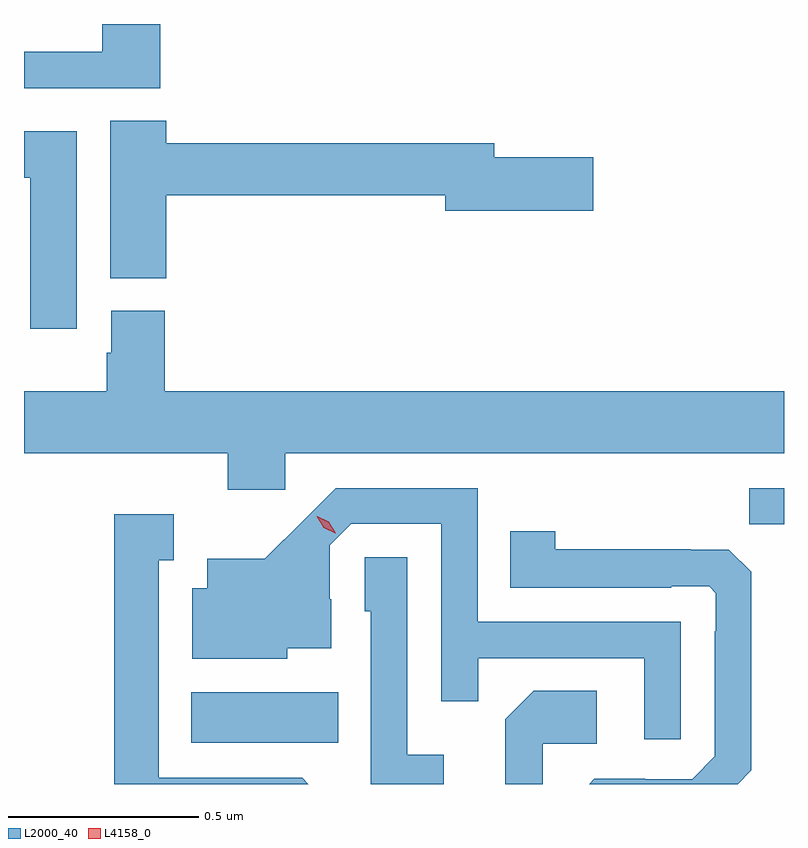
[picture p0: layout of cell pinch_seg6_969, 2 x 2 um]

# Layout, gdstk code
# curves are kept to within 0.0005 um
import gdstk
lib = gdstk.Library(unit=1e-6, precision=1e-09)
def R(c, l, rs):  # rectangles x0, y0, x1, y1
    for r in rs: c.add(gdstk.rectangle(r[:2], r[2:], *l))
def P(c, l, *ps):  # polygons
    for p in ps: c.add(gdstk.Polygon(p, *l))
L2000_40 = (2000, 40)
L4158_0 = (4158, 0)

pinch_seg6_969 = lib.new_cell('pinch_seg6_969')
R(pinch_seg6_969, L2000_40, [(337.391,923.93,337.778,924.064), (338.86,924.505,338.951,924.6)])
P(pinch_seg6_969, L2000_40, [(337.31,925.822),(337.157,925.822),(337.157,925.749),(336.951,925.749),(336.951,925.653),(337.31,925.653)],
  [(337.325,925.372),(338.06,925.372),(338.06,925.33),(338.449,925.33),(338.449,925.472),(338.188,925.472),(338.188,925.508),(337.325,925.508),(337.325,925.568),(337.178,925.568),(337.178,925.153),(337.325,925.153)],
  [(337.09,925.54),(336.951,925.54),(336.951,925.418),(336.968,925.418),(336.968,925.02),(337.09,925.02)],
  [(337.638,924.692),(338.951,924.692),(338.951,924.856),(337.322,924.856),(337.322,925.068),(337.181,925.068),(337.181,924.957),(337.169,924.957),(337.169,924.856),(336.951,924.856),(336.951,924.692),(337.487,924.692),(337.487,924.597),(337.638,924.597)],
  [(338.679,924.249),(338.145,924.249),(338.145,924.6),(337.772,924.6),(337.585,924.415),(337.433,924.415),(337.433,924.337),(337.394,924.337),(337.394,924.152),(337.644,924.152),(337.644,924.179),(337.759,924.179),(337.759,924.308),(337.755,924.308),(337.755,924.45),(337.812,924.507),(338.049,924.507),(338.049,924.04),(338.147,924.04),(338.147,924.153),(338.583,924.153),(338.583,923.94),(338.679,923.94)],
  [(337.683,923.838),(337.306,923.838),(337.306,924.411),(337.345,924.411),(337.345,924.532),(337.188,924.532),(337.188,923.822),(337.699,923.822)],
  [(338.865,923.858),(338.865,924.38),(338.806,924.439),(338.705,924.439),(338.705,924.44),(338.349,924.44),(338.349,924.487),(338.23,924.487),(338.23,924.339),(338.654,924.339),(338.654,924.342),(338.754,924.342),(338.772,924.324),(338.772,924.224),(338.769,924.224),(338.769,923.895),(338.709,923.835),(338.586,923.835),(338.586,923.836),(338.452,923.836),(338.438,923.822),(338.829,923.822)],
  [(338.056,923.899),(337.959,923.899),(337.959,924.419),(337.848,924.419),(337.848,924.276),(337.863,924.276),(337.863,923.822),(338.056,923.822)],
  [(338.316,923.928),(338.458,923.928),(338.458,924.068),(338.293,924.068),(338.217,923.992),(338.217,923.822),(338.316,923.822)])
P(pinch_seg6_969, L4158_0, [(337.77,924.482),(337.74,924.497),(337.722,924.527),(337.722,924.527),(337.723,924.527),(337.753,924.512),(337.771,924.482),(337.771,924.482)])

lib.write_gds('pinch_seg6_969.gds')
